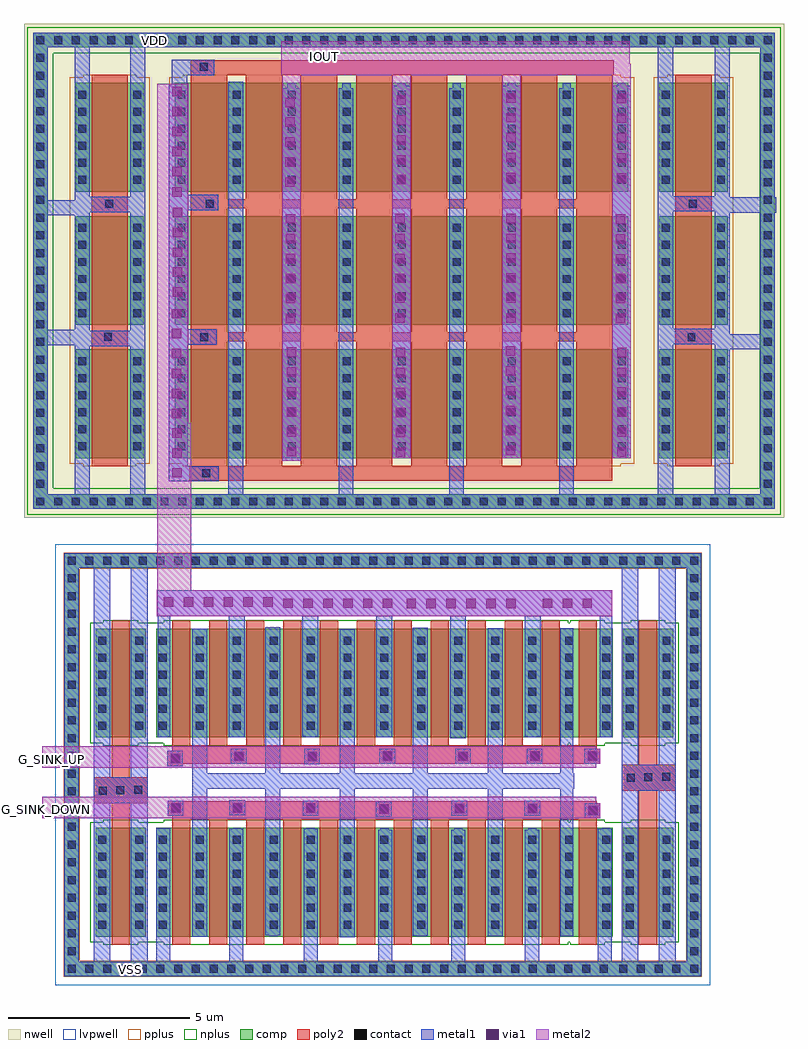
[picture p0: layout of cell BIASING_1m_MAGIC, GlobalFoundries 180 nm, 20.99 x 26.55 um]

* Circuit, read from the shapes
.subckt BIASING_1m_MAGIC G_SINK_DOWN G_SINK_UP IOUT VDD VSS
XM1 VSS VSS VSS VSS nfet_03v3 w=3u l=0.5u m=4
XM2 n1 G_SINK_DOWN VSS VSS nfet_03v3 w=3u l=0.5u m=12
XM3 n1 G_SINK_UP n2 VSS nfet_03v3 w=3u l=0.5u m=12
XM4 VDD VDD VDD VDD pfet_03v3 w=3u l=1u m=6
XM5 VDD n2 n2 VDD pfet_03v3 w=3u l=1u m=3
XM6 IOUT n2 VDD VDD pfet_03v3 w=3u l=1u m=21
.ends

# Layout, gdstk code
import gdstk
lib = gdstk.Library(unit=1e-6, precision=1e-09)
def R(c, l, rs):  # rectangles x0, y0, x1, y1
    for r in rs: c.add(gdstk.rectangle(r[:2], r[2:], *l))
def A(c, l, x, y, w, h, nx, ny, dx, dy):  # array of equal rectangles
    R(c, l, [(x+i*dx, y+j*dy, x+i*dx+w, y+j*dy+h) for i in range(nx) for j in range(ny)])
nwell = (21, 0)
comp = (22, 0)
poly2 = (30, 0)
pplus = (31, 0)
nplus = (32, 0)
contact = (33, 0)
metal1 = (34, 0)
via1 = (35, 0)
metal2 = (36, 0)
lvpwell = (204, 0)

pfet_03v3_gkywhf = lib.new_cell('pfet_03v3_GKYWHF')
R(pfet_03v3_gkywhf, nwell, [(-5.93,-5.83,5.93,5.83)])
A(pfet_03v3_gkywhf, comp, -5.5, -5.18, 11, 3, 1, 3, 0, 3.68)
A(pfet_03v3_gkywhf, poly2, -5.06, -5.4, 1, 3.44, 7, 3, 1.52, 3.68)
R(pfet_03v3_gkywhf, pplus, [(-5.29,-5.41,5.29,-5.34), (-5.66,-5.34,5.66,5.34), (-5.29,5.34,5.29,5.41)])
A(pfet_03v3_gkywhf, contact, -5.43, -4.965, 0.22, 0.22, 8, 6, 1.52, 0.47)
A(pfet_03v3_gkywhf, contact, -5.43, -1.285, 0.22, 0.22, 8, 6, 1.52, 0.47)
A(pfet_03v3_gkywhf, contact, -5.43, 2.395, 0.22, 0.22, 8, 6, 1.52, 0.47)
A(pfet_03v3_gkywhf, metal1, -5.435, -5.17, 0.23, 2.98, 8, 3, 1.52, 3.68)

pfet_03v3_gkyjhf = lib.new_cell('pfet_03v3_GKYJHF')
R(pfet_03v3_gkyjhf, nwell, [(-1.37,-5.83,1.37,5.83)])
A(pfet_03v3_gkyjhf, comp, -0.94, -5.18, 1.88, 3, 1, 3, 0, 3.68)
A(pfet_03v3_gkyjhf, poly2, -0.5, -5.4, 1, 3.44, 1, 3, 0, 3.68)
R(pfet_03v3_gkyjhf, pplus, [(-0.73,-5.41,0.73,-5.34), (-1.1,-5.34,1.1,5.34), (-0.73,5.34,0.73,5.41)])
A(pfet_03v3_gkyjhf, contact, -0.87, -4.965, 0.22, 0.22, 1, 6, 0, 0.47)
A(pfet_03v3_gkyjhf, contact, 0.65, -4.965, 0.22, 0.22, 1, 6, 0, 0.47)
A(pfet_03v3_gkyjhf, contact, -0.87, -1.285, 0.22, 0.22, 1, 6, 0, 0.47)
A(pfet_03v3_gkyjhf, contact, 0.65, -1.285, 0.22, 0.22, 1, 6, 0, 0.47)
A(pfet_03v3_gkyjhf, contact, -0.87, 2.395, 0.22, 0.22, 1, 6, 0, 0.47)
A(pfet_03v3_gkyjhf, contact, 0.65, 2.395, 0.22, 0.22, 1, 6, 0, 0.47)
A(pfet_03v3_gkyjhf, metal1, -0.875, -5.17, 0.23, 2.98, 1, 3, 0, 3.68)
A(pfet_03v3_gkyjhf, metal1, 0.645, -5.17, 0.23, 2.98, 1, 3, 0, 3.68)

nfet_03v3_u5dxav = lib.new_cell('nfet_03v3_U5DXAV')
R(nfet_03v3_u5dxav, comp, [(-5.79,-1.5,5.79,1.5)])
A(nfet_03v3_u5dxav, poly2, -5.35, -1.72, 0.5, 3.44, 11, 1, 1.02, 0)
R(nfet_03v3_u5dxav, nplus, [(-5.58,-1.73,5.58,-1.66), (-5.95,-1.66,5.95,1.66), (-5.58,1.66,5.58,1.73)])
A(nfet_03v3_u5dxav, contact, -5.72, -1.285, 0.22, 0.22, 12, 6, 1.02, 0.47)
A(nfet_03v3_u5dxav, metal1, -5.725, -1.49, 0.23, 2.98, 12, 1, 1.02, 0)
R(nfet_03v3_u5dxav, lvpwell, [(-5.91,-1.84,5.91,1.84)])

nfet_03v3_8z2enz = lib.new_cell('nfet_03v3_8Z2ENZ')
R(nfet_03v3_8z2enz, comp, [(-0.69,-1.5,0.69,1.5)])
R(nfet_03v3_8z2enz, poly2, [(-0.25,-1.72,0.25,1.72)])
R(nfet_03v3_8z2enz, nplus, [(-0.48,-1.73,0.48,-1.66), (-0.85,-1.66,0.85,1.66), (-0.48,1.66,0.48,1.73)])
A(nfet_03v3_8z2enz, contact, -0.62, -1.285, 0.22, 0.22, 1, 6, 0, 0.47)
A(nfet_03v3_8z2enz, contact, 0.4, -1.285, 0.22, 0.22, 1, 6, 0, 0.47)
R(nfet_03v3_8z2enz, metal1, [(-0.625,-1.49,-0.395,1.49), (0.395,-1.49,0.625,1.49)])
R(nfet_03v3_8z2enz, lvpwell, [(-0.81,-1.84,0.81,1.84)])

biasing_1m_magic = lib.new_cell('BIASING_1m_MAGIC')
R(biasing_1m_magic, nwell, [(-3.535,6.405,17.455,7.405), (-3.535,7.405,-2.535,19.065), (0.52,7.405,1.105,7.41), (16.325,7.405,17.455,19.065), (-3.535,19.065,17.455,20.045)])
R(biasing_1m_magic, comp, [(-2.42,-6.25,15.17,-5.85), (-2.42,-5.85,-2.02,5.02), (14.77,-5.85,15.17,5.02), (-2.42,5.02,15.17,5.42), (-3.285,6.655,17.205,7.055), (-3.285,7.055,-2.885,19.395), (16.805,7.055,17.205,19.395), (-3.285,19.395,17.205,19.795)])
A(biasing_1m_magic, poly2, 1.075, 7.835, 1, 3.44, 8, 1, 1.52, 0)
A(biasing_1m_magic, poly2, 1.075, 11.525, 1, 3.425, 8, 1, 1.52, 0)
A(biasing_1m_magic, poly2, 2.595, 15.2, 1, 3.07, 7, 1, 1.52, 0)
A(biasing_1m_magic, poly2, 2.595, 18.515, 1, 0.12, 7, 1, 1.52, 0)
R(biasing_1m_magic, poly2, [(-1.11,-2.16,-0.61,-1.485), (13.45,-2.16,13.95,-1.13), (0.56,-1.94,12.285,-1.89), (0.56,-1.89,12.385,-1.82), (0.435,-1.82,12.385,-1.475), (-1.615,-1.485,-0.115,-0.765), (0.435,-1.475,12.285,-1.43), (0.435,-1.43,0.87,-1.405), (2.135,-1.43,2.57,-1.4), (4.16,-1.43,4.595,-1.405), (8.27,-1.43,8.705,-1.415), (10.285,-1.43,10.72,-1.415), (12.97,-1.13,14.47,-0.41), (-1.11,-0.765,-0.61,0.2), (0.42,-0.45,0.855,-0.39), (13.45,-0.41,13.95,0.155), (4.2,-0.395,4.635,-0.39), (0.42,-0.39,12.275,-0.385), (0.42,-0.385,12.38,-0.035), (0.56,-0.035,12.38,0.03), (0.56,0.03,12.28,0.12), (12.275,0.12,12.28,0.18), (13.73,0.155,13.95,0.285), (-1.11,0.2,-0.89,0.305), (-0.83,0.2,-0.61,0.25), (1.035,7.425,12.715,7.835), (-1.665,7.835,-0.665,18.635), (14.455,7.835,15.455,18.635), (1.07,11.275,12.715,11.525), (1.07,14.95,12.715,15.2), (1.075,15.2,2.075,18.635), (2.595,18.27,3.59,18.515), (1.075,18.635,12.755,19.045)])
R(biasing_1m_magic, pplus, [(-2.44,-6.27,15.19,-5.83), (-2.44,-5.83,-2,5), (14.75,-5.83,15.19,5), (-2.44,5,15.19,5.44), (2.305,7.825,2.365,7.895), (2.305,18.575,2.365,18.645)])
R(biasing_1m_magic, nplus, [(-3.445,6.495,17.365,7.215), (-3.445,7.215,-2.725,19.235), (16.785,7.215,17.365,19.235), (-3.445,19.235,17.365,19.955)])
A(biasing_1m_magic, contact, -2.33, -6.16, 0.22, 0.22, 31, 2, 0.49, 11.27)
A(biasing_1m_magic, contact, 12.9, -6.16, 0.22, 0.22, 5, 2, 0.49, 11.27)
A(biasing_1m_magic, contact, -2.33, -5.67, 0.22, 0.22, 1, 22, 0, 0.49)
A(biasing_1m_magic, contact, 14.86, -5.67, 0.22, 0.22, 1, 22, 0, 0.49)
A(biasing_1m_magic, contact, -3.195, 6.745, 0.22, 0.22, 42, 2, 0.49, 12.74)
A(biasing_1m_magic, contact, -3.195, 7.235, 0.22, 0.22, 1, 25, 0, 0.49)
A(biasing_1m_magic, contact, 16.895, 7.235, 0.22, 0.22, 1, 25, 0, 0.49)
R(biasing_1m_magic, contact, [(12.065,-1.79,12.285,-1.57), (6.3,-1.75,6.52,-1.53), (8.385,-1.73,8.605,-1.51), (10.4,-1.73,10.62,-1.51), (0.55,-1.72,0.77,-1.5), (4.275,-1.72,4.495,-1.5), (2.25,-1.715,2.47,-1.495), (-1.475,-1.24,-1.255,-1.02), (-0.99,-1.225,-0.77,-1.005), (-0.49,-1.21,-0.27,-0.99), (13.11,-0.885,13.33,-0.665), (13.595,-0.87,13.815,-0.65), (14.095,-0.855,14.315,-0.635), (0.535,-0.35,0.755,-0.13), (4.315,-0.295,4.535,-0.075), (2.295,-0.29,2.515,-0.07), (8.485,-0.29,8.705,-0.07), (6.395,-0.285,6.615,-0.065), (10.465,-0.285,10.685,-0.065), (12.06,-0.285,12.28,-0.065), (1.385,7.525,1.605,7.745), (1.33,11.285,1.55,11.505), (14.79,11.285,15.01,11.505), (-1.325,11.295,-1.105,11.515), (1.485,14.965,1.705,15.185), (-1.295,14.97,-1.075,15.19), (14.82,14.97,15.04,15.19), (1.32,18.75,1.54,18.97)])
R(biasing_1m_magic, metal1, [(-2.42,-6.25,15.17,-5.85), (-2.42,-5.85,-2.02,5.02), (-1.615,-5.85,-1.15,-1.485), (-0.58,-5.85,-0.115,-1.485), (0.12,-5.85,0.51,-2.165), (2.135,-5.85,2.525,-2.185), (4.19,-5.85,4.58,-2.185), (6.25,-5.85,6.64,-2.205), (8.26,-5.85,8.65,-2.205), (10.3,-5.85,10.69,-2.205), (12.31,-5.85,12.7,-2.185), (12.97,-5.85,13.435,-1.13), (14,-5.85,14.465,-1.13), (14.77,-5.85,15.17,5.02), (5.185,-5.18,5.6,-1.08), (1.105,-5.165,1.52,-1.08), (9.275,-5.15,9.69,-1.08), (11.27,-5.15,11.64,-1.08), (7.2,-5.14,7.615,-1.08), (3.13,-5.12,3.545,-1.08), (11.95,-1.89,12.385,-1.475), (6.185,-1.85,6.62,-1.435), (8.27,-1.83,8.705,-1.415), (10.285,-1.83,10.72,-1.415), (0.435,-1.82,0.87,-1.405), (4.16,-1.82,4.595,-1.405), (2.135,-1.815,2.57,-1.4), (-1.615,-1.485,-0.115,-0.765), (12.97,-1.13,14.47,-0.41), (1.105,-1.08,11.665,-0.645), (-1.615,-0.765,-1.15,5.02), (-0.58,-0.765,-0.115,5.02), (1.105,-0.645,1.52,3.34), (3.13,-0.645,3.545,3.385), (5.185,-0.645,5.6,3.325), (7.2,-0.645,7.615,3.365), (9.275,-0.645,9.69,3.355), (11.27,-0.645,11.64,3.35), (0.42,-0.45,0.855,-0.035), (12.97,-0.41,13.435,5.02), (14,-0.41,14.465,5.02), (4.2,-0.395,4.635,0.02), (2.18,-0.39,2.615,0.025), (8.37,-0.39,8.805,0.025), (6.28,-0.385,6.715,0.03), (10.35,-0.385,10.785,0.03), (11.945,-0.385,12.38,0.03), (8.235,0.32,8.665,3.68), (6.2,0.34,6.63,3.68), (2.125,0.35,2.555,3.68), (12.37,0.35,12.705,3.68), (0.165,0.365,0.505,3.68), (4.155,0.365,4.585,3.68), (10.3,0.365,10.73,3.68), (0.14,3.68,12.705,3.87), (0.14,3.87,12.715,4.4), (12.345,4.4,12.715,4.405), (-2.42,5.02,15.17,5.42), (-3.285,6.655,17.205,7.055), (-3.285,7.055,-2.885,11.175), (-2.135,7.055,-1.715,11.15), (-0.6,7.055,-0.18,11.15), (2.1,7.055,2.52,18.455), (5.155,7.055,5.56,18.27), (8.21,7.055,8.615,18.27), (11.25,7.055,11.655,18.27), (13.975,7.055,14.395,11.205), (15.54,7.055,15.96,11.06), (16.805,7.055,17.205,11.06), (0.46,7.41,1.84,7.835), (0.46,7.835,0.99,11.185), (3.61,7.975,4.05,7.985), (3.595,7.985,4.105,18.27), (6.635,8.05,7.145,18.335), (9.675,8.05,10.185,18.335), (12.715,8.055,13.225,18.34), (15.54,11.06,17.205,11.205), (-2.135,11.15,-0.18,11.175), (-3.285,11.175,-0.18,11.57), (0.46,11.185,1.785,11.61), (13.975,11.205,17.205,11.48), (13.975,11.48,15.96,11.625), (16.805,11.48,17.205,14.835), (-3.285,11.57,-1.715,11.595), (-0.6,11.57,-0.18,14.85), (-3.285,11.595,-2.885,14.755), (-2.135,11.595,-1.715,14.755), (0.46,11.61,0.99,14.9), (13.975,11.625,14.395,14.865), (15.54,11.625,15.96,14.835), (-3.285,14.755,-1.715,14.85), (15.54,14.835,17.245,14.865), (-3.285,14.85,-0.18,15.175), (13.975,14.865,17.245,15.255), (0.46,14.9,1.83,15.325), (-3.285,15.175,-2.885,19.395), (-2.135,15.175,-0.18,15.27), (13.975,15.255,15.96,15.285), (16.805,15.255,17.205,19.395), (-2.135,15.27,-1.715,19.395), (-0.6,15.27,-0.18,19.395), (13.975,15.285,14.395,19.395), (15.54,15.285,15.96,19.395), (0.46,15.325,0.99,18.355), (0.55,18.355,0.975,18.63), (0.55,18.63,1.725,19.055), (-3.285,19.395,17.205,19.795)])
A(biasing_1m_magic, via1, 7.03, 3.905, 0.26, 0.26, 6, 1, 0.55, 0)
A(biasing_1m_magic, via1, 3.63, 3.915, 0.26, 0.26, 6, 1, 0.55, 0)
A(biasing_1m_magic, via1, 10.79, 3.915, 0.26, 0.26, 3, 1, 0.55, 0)
A(biasing_1m_magic, via1, 0.325, 3.95, 0.26, 0.26, 6, 1, 0.55, 0)
A(biasing_1m_magic, via1, 0.565, 7.52, 0.26, 0.26, 1, 3, 0, 0.55)
A(biasing_1m_magic, via1, 6.735, 8.085, 0.26, 0.26, 1, 6, 0, 0.55)
A(biasing_1m_magic, via1, 12.845, 8.095, 0.26, 0.26, 1, 6, 0, 0.55)
A(biasing_1m_magic, via1, 3.725, 8.1, 0.26, 0.26, 1, 6, 0, 0.55)
A(biasing_1m_magic, via1, 9.775, 8.135, 0.26, 0.26, 1, 6, 0, 0.55)
A(biasing_1m_magic, via1, 0.55, 9.16, 0.26, 0.26, 1, 6, 0, 0.55)
A(biasing_1m_magic, via1, 12.81, 11.78, 0.26, 0.26, 1, 6, 0, 0.55)
A(biasing_1m_magic, via1, 3.7, 11.785, 0.26, 0.26, 1, 6, 0, 0.55)
A(biasing_1m_magic, via1, 6.72, 11.79, 0.26, 0.26, 1, 6, 0, 0.55)
A(biasing_1m_magic, via1, 9.79, 11.795, 0.26, 0.26, 1, 6, 0, 0.55)
A(biasing_1m_magic, via1, 0.57, 12.51, 0.26, 0.26, 1, 5, 0, 0.55)
A(biasing_1m_magic, via1, 3.68, 15.555, 0.26, 0.26, 1, 4, 0, 0.55)
A(biasing_1m_magic, via1, 6.755, 15.615, 0.26, 0.26, 1, 4, 0, 0.55)
A(biasing_1m_magic, via1, 12.835, 15.66, 0.26, 0.26, 1, 4, 0, 0.55)
A(biasing_1m_magic, via1, 9.78, 15.675, 0.26, 0.26, 1, 4, 0, 0.55)
A(biasing_1m_magic, via1, 0.56, 15.845, 0.26, 0.26, 1, 5, 0, 0.55)
R(biasing_1m_magic, via1, [(12.045,-1.81,12.305,-1.55), (6.28,-1.77,6.54,-1.51), (8.365,-1.75,8.625,-1.49), (10.38,-1.75,10.64,-1.49), (0.53,-1.74,0.79,-1.48), (4.255,-1.74,4.515,-1.48), (2.23,-1.735,2.49,-1.475), (0.515,-0.37,0.775,-0.11), (4.295,-0.315,4.555,-0.055), (2.275,-0.31,2.535,-0.05), (8.465,-0.31,8.725,-0.05), (6.375,-0.305,6.635,-0.045), (10.445,-0.305,10.705,-0.045), (12.04,-0.305,12.3,-0.045), (0.565,15.275,0.825,15.535), (3.68,17.75,3.94,18.01), (6.755,17.81,7.015,18.07), (12.835,17.855,13.095,18.115), (9.78,17.87,10.04,18.13)])
R(biasing_1m_magic, metal2, [(-3.025,-1.89,12.385,-1.475), (-3.025,-1.475,12.27,-1.295), (-3.025,-0.495,12.265,-0.385), (-3.025,-0.385,12.38,0.03), (-3.025,0.03,12.265,0.1), (0.13,3.69,12.715,4.405), (0.145,4.405,1.09,9.035), (3.595,7.985,4.105,18.625), (6.635,8.05,7.145,18.625), (9.675,8.05,10.185,18.625), (12.715,8.055,13.225,18.625), (0.145,9.035,0.995,18.39), (3.565,18.625,13.225,18.95), (3.565,18.95,13.19,19.57)])
R(biasing_1m_magic, lvpwell, [(-2.67,-6.5,15.42,5.67)])
biasing_1m_magic.add(gdstk.Reference(pfet_03v3_gkywhf, (7.655,13.235)))
biasing_1m_magic.add(gdstk.Reference(pfet_03v3_gkyjhf, (14.955,13.235)))
biasing_1m_magic.add(gdstk.Reference(pfet_03v3_gkyjhf, (1.575,13.235)))
biasing_1m_magic.add(gdstk.Reference(pfet_03v3_gkyjhf, (-1.165,13.235)))
biasing_1m_magic.add(gdstk.Reference(nfet_03v3_u5dxav, (5.91,-3.66)))
biasing_1m_magic.add(gdstk.Reference(nfet_03v3_u5dxav, (5.91,1.84)))
biasing_1m_magic.add(gdstk.Reference(nfet_03v3_8z2enz, (13.7,-3.66)))
biasing_1m_magic.add(gdstk.Reference(nfet_03v3_8z2enz, (12.03,-3.66)))
biasing_1m_magic.add(gdstk.Reference(nfet_03v3_8z2enz, (13.7,1.84)))
biasing_1m_magic.add(gdstk.Reference(nfet_03v3_8z2enz, (-0.86,-3.66)))
biasing_1m_magic.add(gdstk.Reference(nfet_03v3_8z2enz, (12.03,1.84)))
biasing_1m_magic.add(gdstk.Reference(nfet_03v3_8z2enz, (-0.86,1.84)))
biasing_1m_magic.add(gdstk.Label('VDD', (0.065,19.575), layer=34, texttype=10))
biasing_1m_magic.add(gdstk.Label('IOUT', (4.76,19.14), layer=36, texttype=10))
biasing_1m_magic.add(gdstk.Label('G_SINK_UP', (-2.775,-0.26), layer=36, texttype=10))
biasing_1m_magic.add(gdstk.Label('G_SINK_DOWN', (-2.95,-1.655), layer=36, texttype=10))
biasing_1m_magic.add(gdstk.Label('VSS', (-0.58,-6.065), layer=34, texttype=10))

lib.write_gds('BIASING_1m_MAGIC.gds')
